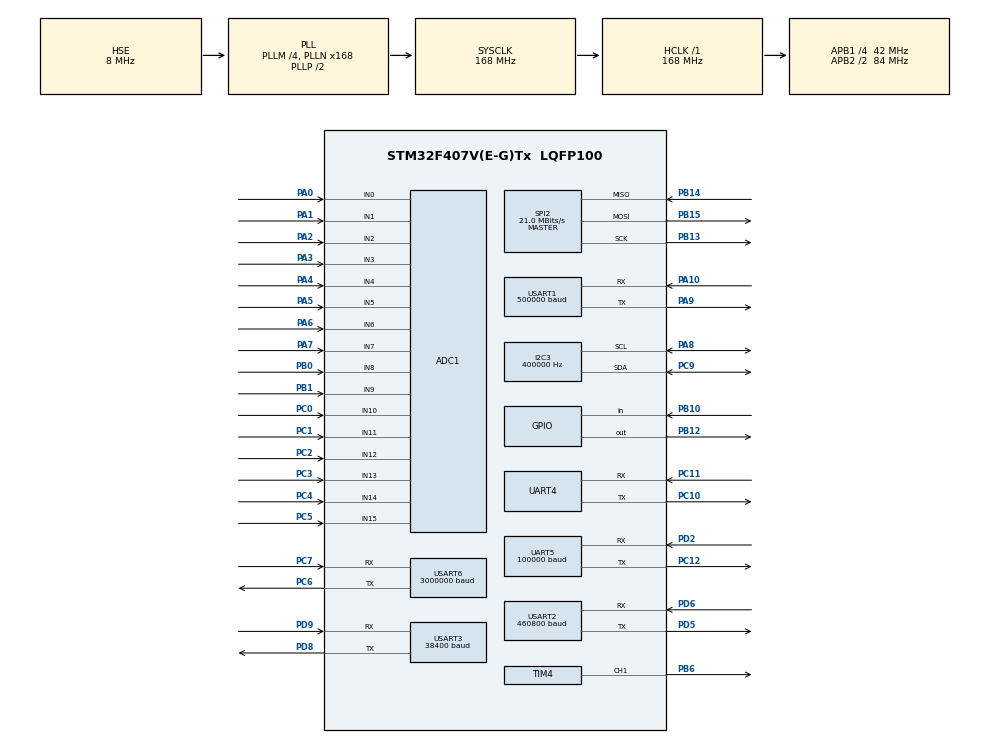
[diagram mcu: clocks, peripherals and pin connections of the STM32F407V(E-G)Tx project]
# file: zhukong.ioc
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ADC1.Channel-0\#ChannelRegularConversion=ADC_CHANNEL_0
ADC1.Channel-1\#ChannelRegularConversion=ADC_CHANNEL_1
ADC1.Channel-10\#ChannelRegularConversion=ADC_CHANNEL_10
ADC1.Channel-11\#ChannelRegularConversion=ADC_CHANNEL_11
ADC1.Channel-12\#ChannelRegularConversion=ADC_CHANNEL_12
ADC1.Channel-13\#ChannelRegularConversion=ADC_CHANNEL_13
ADC1.Channel-14\#ChannelRegularConversion=ADC_CHANNEL_14
ADC1.Channel-15\#ChannelRegularConversion=ADC_CHANNEL_15
ADC1.Channel-2\#ChannelRegularConversion=ADC_CHANNEL_2
ADC1.Channel-3\#ChannelRegularConversion=ADC_CHANNEL_3
ADC1.Channel-4\#ChannelRegularConversion=ADC_CHANNEL_4
ADC1.Channel-5\#ChannelRegularConversion=ADC_CHANNEL_5
ADC1.Channel-6\#ChannelRegularConversion=ADC_CHANNEL_6
ADC1.Channel-7\#ChannelRegularConversion=ADC_CHANNEL_7
ADC1.Channel-8\#ChannelRegularConversion=ADC_CHANNEL_8
ADC1.Channel-9\#ChannelRegularConversion=ADC_CHANNEL_9
ADC1.ClockPrescaler=ADC_CLOCK_SYNC_PCLK_DIV6
ADC1.ContinuousConvMode=ENABLE
ADC1.DMAContinuousRequests=ENABLE
ADC1.EOCSelection=ADC_EOC_SEQ_CONV
ADC1.NbrOfConversion=16
ADC1.NbrOfConversionFlag=1
ADC1.Rank-0\#ChannelRegularConversion=1
ADC1.Rank-1\#ChannelRegularConversion=2
ADC1.Rank-10\#ChannelRegularConversion=11
ADC1.Rank-11\#ChannelRegularConversion=12
ADC1.Rank-12\#ChannelRegularConversion=13
ADC1.Rank-13\#ChannelRegularConversion=14
ADC1.Rank-14\#ChannelRegularConversion=15
ADC1.Rank-15\#ChannelRegularConversion=16
ADC1.Rank-2\#ChannelRegularConversion=3
ADC1.Rank-3\#ChannelRegularConversion=4
ADC1.Rank-4\#ChannelRegularConversion=5
ADC1.Rank-5\#ChannelRegularConversion=6
ADC1.Rank-6\#ChannelRegularConversion=7
ADC1.Rank-7\#ChannelRegularConversion=8
ADC1.Rank-8\#ChannelRegularConversion=9
ADC1.Rank-9\#ChannelRegularConversion=10
ADC1.SamplingTime-0\#ChannelRegularConversion=ADC_SAMPLETIME_56CYCLES
ADC1.SamplingTime-1\#ChannelRegularConversion=ADC_SAMPLETIME_56CYCLES
ADC1.SamplingTime-10\#ChannelRegularConversion=ADC_SAMPLETIME_56CYCLES
ADC1.SamplingTime-11\#ChannelRegularConversion=ADC_SAMPLETIME_56CYCLES
ADC1.SamplingTime-12\#ChannelRegularConversion=ADC_SAMPLETIME_56CYCLES
ADC1.SamplingTime-13\#ChannelRegularConversion=ADC_SAMPLETIME_56CYCLES
ADC1.SamplingTime-14\#ChannelRegularConversion=ADC_SAMPLETIME_56CYCLES
ADC1.SamplingTime-15\#ChannelRegularConversion=ADC_SAMPLETIME_56CYCLES
ADC1.SamplingTime-2\#ChannelRegularConversion=ADC_SAMPLETIME_56CYCLES
ADC1.SamplingTime-3\#ChannelRegularConversion=ADC_SAMPLETIME_56CYCLES
ADC1.SamplingTime-4\#ChannelRegularConversion=ADC_SAMPLETIME_56CYCLES
ADC1.SamplingTime-5\#ChannelRegularConversion=ADC_SAMPLETIME_56CYCLES
ADC1.SamplingTime-6\#ChannelRegularConversion=ADC_SAMPLETIME_56CYCLES
ADC1.SamplingTime-7\#ChannelRegularConversion=ADC_SAMPLETIME_56CYCLES
ADC1.SamplingTime-8\#ChannelRegularConversion=ADC_SAMPLETIME_56CYCLES
ADC1.SamplingTime-9\#ChannelRegularConversion=ADC_SAMPLETIME_56CYCLES
ADC1.ScanConvMode=ENABLE
ADC1.master=1
Dma.ADC1.4.Direction=DMA_PERIPH_TO_MEMORY
Dma.ADC1.4.FIFOMode=DMA_FIFOMODE_DISABLE
Dma.ADC1.4.Instance=DMA2_Stream0
Dma.ADC1.4.MemDataAlignment=DMA_MDATAALIGN_HALFWORD
Dma.ADC1.4.MemInc=DMA_MINC_ENABLE
Dma.ADC1.4.Mode=DMA_CIRCULAR
Dma.ADC1.4.PeriphDataAlignment=DMA_PDATAALIGN_HALFWORD
Dma.ADC1.4.PeriphInc=DMA_PINC_DISABLE
Dma.ADC1.4.Priority=DMA_PRIORITY_LOW
Dma.Request0=USART1_RX
Dma.Request1=USART1_TX
Dma.Request2=USART6_RX
Dma.Request3=USART6_TX
Dma.Request4=ADC1
Dma.Request5=USART2_RX
Dma.Request6=USART3_RX
Dma.Request7=USART3_TX
Dma.USART1_RX.0.Direction=DMA_PERIPH_TO_MEMORY
Dma.USART1_RX.0.FIFOMode=DMA_FIFOMODE_DISABLE
Dma.USART1_RX.0.Instance=DMA2_Stream2
Dma.USART1_RX.0.MemDataAlignment=DMA_MDATAALIGN_BYTE
Dma.USART1_RX.0.MemInc=DMA_MINC_ENABLE
Dma.USART1_RX.0.Mode=DMA_NORMAL
Dma.USART1_RX.0.PeriphDataAlignment=DMA_PDATAALIGN_BYTE
Dma.USART1_RX.0.PeriphInc=DMA_PINC_DISABLE
Dma.USART1_RX.0.Priority=DMA_PRIORITY_LOW
Dma.USART1_TX.1.Direction=DMA_MEMORY_TO_PERIPH
Dma.USART1_TX.1.FIFOMode=DMA_FIFOMODE_DISABLE
Dma.USART1_TX.1.Instance=DMA2_Stream7
Dma.USART1_TX.1.MemDataAlignment=DMA_MDATAALIGN_BYTE
Dma.USART1_TX.1.MemInc=DMA_MINC_ENABLE
Dma.USART1_TX.1.Mode=DMA_NORMAL
Dma.USART1_TX.1.PeriphDataAlignment=DMA_PDATAALIGN_BYTE
Dma.USART1_TX.1.PeriphInc=DMA_PINC_DISABLE
Dma.USART1_TX.1.Priority=DMA_PRIORITY_LOW
Dma.USART2_RX.5.Direction=DMA_PERIPH_TO_MEMORY
Dma.USART2_RX.5.FIFOMode=DMA_FIFOMODE_DISABLE
Dma.USART2_RX.5.Instance=DMA1_Stream5
Dma.USART2_RX.5.MemDataAlignment=DMA_MDATAALIGN_BYTE
Dma.USART2_RX.5.MemInc=DMA_MINC_ENABLE
Dma.USART2_RX.5.Mode=DMA_NORMAL
Dma.USART2_RX.5.PeriphDataAlignment=DMA_PDATAALIGN_BYTE
Dma.USART2_RX.5.PeriphInc=DMA_PINC_DISABLE
Dma.USART2_RX.5.Priority=DMA_PRIORITY_LOW
Dma.USART3_RX.6.Direction=DMA_PERIPH_TO_MEMORY
Dma.USART3_RX.6.FIFOMode=DMA_FIFOMODE_DISABLE
Dma.USART3_RX.6.Instance=DMA1_Stream1
Dma.USART3_RX.6.MemDataAlignment=DMA_MDATAALIGN_BYTE
Dma.USART3_RX.6.MemInc=DMA_MINC_ENABLE
Dma.USART3_RX.6.Mode=DMA_NORMAL
Dma.USART3_RX.6.PeriphDataAlignment=DMA_PDATAALIGN_BYTE
Dma.USART3_RX.6.PeriphInc=DMA_PINC_DISABLE
Dma.USART3_RX.6.Priority=DMA_PRIORITY_LOW
Dma.USART3_TX.7.Direction=DMA_MEMORY_TO_PERIPH
Dma.USART3_TX.7.FIFOMode=DMA_FIFOMODE_DISABLE
Dma.USART3_TX.7.Instance=DMA1_Stream3
Dma.USART3_TX.7.MemDataAlignment=DMA_MDATAALIGN_BYTE
Dma.USART3_TX.7.MemInc=DMA_MINC_ENABLE
Dma.USART3_TX.7.Mode=DMA_NORMAL
Dma.USART3_TX.7.PeriphDataAlignment=DMA_PDATAALIGN_BYTE
Dma.USART3_TX.7.PeriphInc=DMA_PINC_DISABLE
Dma.USART3_TX.7.Priority=DMA_PRIORITY_LOW
Dma.USART6_RX.2.Direction=DMA_PERIPH_TO_MEMORY
Dma.USART6_RX.2.FIFOMode=DMA_FIFOMODE_DISABLE
Dma.USART6_RX.2.Instance=DMA2_Stream1
Dma.USART6_RX.2.MemDataAlignment=DMA_MDATAALIGN_BYTE
Dma.USART6_RX.2.MemInc=DMA_MINC_ENABLE
Dma.USART6_RX.2.Mode=DMA_NORMAL
Dma.USART6_RX.2.PeriphDataAlignment=DMA_PDATAALIGN_BYTE
Dma.USART6_RX.2.PeriphInc=DMA_PINC_DISABLE
Dma.USART6_RX.2.Priority=DMA_PRIORITY_VERY_HIGH
Dma.USART6_TX.3.Direction=DMA_MEMORY_TO_PERIPH
Dma.USART6_TX.3.FIFOMode=DMA_FIFOMODE_DISABLE
Dma.USART6_TX.3.Instance=DMA2_Stream6
Dma.USART6_TX.3.MemDataAlignment=DMA_MDATAALIGN_BYTE
Dma.USART6_TX.3.MemInc=DMA_MINC_ENABLE
Dma.USART6_TX.3.Mode=DMA_NORMAL
Dma.USART6_TX.3.PeriphDataAlignment=DMA_PDATAALIGN_BYTE
Dma.USART6_TX.3.PeriphInc=DMA_PINC_DISABLE
Dma.USART6_TX.3.Priority=DMA_PRIORITY_LOW
FREERTOS.BinarySemaphores01=RS485SE,Dynamic,NULL,Available
FREERTOS.INCLUDE_xTaskGetHandle=1
FREERTOS.Queues01=RS485_DMA,52,uint8_t,0,Dynamic,NULL,NULL;Send_Again,8,uint8_t,0,Dynamic,NULL,NULL
FREERTOS.Tasks01=JY901,10,256,vJY901Task,Default,NULL,Dynamic,NULL,NULL;RS485,16,256,vRS485Task,Default,NULL,Dynamic,NULL,NULL;ADC_UPDATE,9,256,vADC_UPDATETask,Default,NULL,Dynamic,NULL,NULL;contol,8,512,vcontolTask,Default,NULL,Dynamic,NULL,NULL
FREERTOS.configENABLE_FPU=1
FREERTOS.configTOTAL_HEAP_SIZE=24576
I2C3.ClockSpeed=400000
I2C3.DutyCycle=I2C_DUTYCYCLE_16_9
I2C3.I2C_Mode=I2C_Fast
Mcu.Family=STM32F4
Mcu.Name=STM32F407V(E-G)Tx
Mcu.Package=LQFP100
NVIC.DMA1_Stream1_IRQn=true\:5\:0\:false\:false\:true\:true\:false\:true\:true
NVIC.DMA1_Stream3_IRQn=true\:5\:0\:false\:false\:true\:true\:false\:true\:true
NVIC.DMA1_Stream5_IRQn=true\:5\:0\:false\:false\:true\:true\:false\:true\:true
NVIC.DMA2_Stream0_IRQn=true\:5\:0\:false\:false\:true\:true\:false\:true\:true
NVIC.DMA2_Stream1_IRQn=true\:5\:0\:false\:false\:true\:true\:false\:true\:true
NVIC.DMA2_Stream2_IRQn=true\:5\:0\:false\:false\:true\:true\:false\:true\:true
NVIC.DMA2_Stream6_IRQn=true\:5\:0\:false\:false\:true\:true\:false\:true\:true
NVIC.DMA2_Stream7_IRQn=true\:5\:0\:false\:false\:true\:true\:false\:true\:true
NVIC.PriorityGroup=NVIC_PRIORITYGROUP_4
NVIC.TIM1_UP_TIM10_IRQn=true\:6\:0\:true\:false\:true\:true\:true\:true\:true
NVIC.TIM7_IRQn=true\:15\:0\:false\:false\:true\:false\:false\:true\:true
NVIC.TimeBase=TIM7_IRQn
NVIC.TimeBaseIP=TIM7
NVIC.UART5_IRQn=true\:5\:0\:false\:false\:true\:true\:true\:true\:true
NVIC.USART1_IRQn=true\:5\:0\:false\:false\:true\:true\:true\:true\:true
NVIC.USART2_IRQn=true\:5\:0\:false\:false\:true\:true\:true\:true\:true
NVIC.USART6_IRQn=true\:5\:0\:false\:false\:true\:true\:true\:true\:true
PA0-WKUP.Signal=ADCx_IN0
PA1.Signal=ADCx_IN1
PA10.Mode=Asynchronous
PA10.Signal=USART1_RX
PA13.Mode=Serial_Wire
PA13.Signal=SYS_JTMS-SWDIO
PA14.Mode=Serial_Wire
PA14.Signal=SYS_JTCK-SWCLK
PA2.Signal=ADCx_IN2
PA3.Signal=ADCx_IN3
PA4.Signal=ADCx_IN4
PA5.Signal=ADCx_IN5
PA6.Signal=ADCx_IN6
PA7.Signal=ADCx_IN7
PA8.Mode=I2C
PA8.Signal=I2C3_SCL
PA9.Mode=Asynchronous
PA9.Signal=USART1_TX
PB0.Signal=ADCx_IN8
PB1.Signal=ADCx_IN9
PB10.GPIO_PuPd=GPIO_PULLUP
PB10.Signal=GPIO_Input
PB12.Signal=GPIO_Output
PB13.Mode=Full_Duplex_Master
PB13.Signal=SPI2_SCK
PB14.Mode=Full_Duplex_Master
PB14.Signal=SPI2_MISO
PB15.Mode=Full_Duplex_Master
PB15.Signal=SPI2_MOSI
PB6.Signal=S_TIM4_CH1
PC0.Signal=ADCx_IN10
PC1.Signal=ADCx_IN11
PC10.Mode=Asynchronous
PC10.Signal=UART4_TX
PC11.Mode=Asynchronous
PC11.Signal=UART4_RX
PC12.Mode=Asynchronous
PC12.Signal=UART5_TX
PC2.Signal=ADCx_IN12
PC3.Signal=ADCx_IN13
PC4.Signal=ADCx_IN14
PC5.Signal=ADCx_IN15
PC6.Mode=Asynchronous
PC6.Signal=USART6_TX
PC7.Mode=Asynchronous
PC7.Signal=USART6_RX
PC9.Mode=I2C
PC9.Signal=I2C3_SDA
PD2.Mode=Asynchronous
PD2.Signal=UART5_RX
PD5.Mode=Asynchronous
PD5.Signal=USART2_TX
PD6.Mode=Asynchronous
PD6.Signal=USART2_RX
PD8.Mode=Asynchronous
PD8.Signal=USART3_TX
PD9.Mode=Asynchronous
PD9.Signal=USART3_RX
PH0-OSC_IN.Mode=HSE-External-Oscillator
PH0-OSC_IN.Signal=RCC_OSC_IN
PH1-OSC_OUT.Mode=HSE-External-Oscillator
PH1-OSC_OUT.Signal=RCC_OSC_OUT
ProjectManager.HeapSize=0x200
ProjectManager.StackSize=0x400
ProjectManager.TargetToolchain=MDK-ARM V5.32
RCC.48MHZClocksFreq_Value=84000000
RCC.AHBFreq_Value=168000000
RCC.APB1CLKDivider=RCC_HCLK_DIV4
RCC.APB1Freq_Value=42000000
RCC.APB1TimFreq_Value=84000000
RCC.APB2CLKDivider=RCC_HCLK_DIV2
RCC.APB2Freq_Value=84000000
RCC.APB2TimFreq_Value=168000000
RCC.CortexFreq_Value=168000000
RCC.HCLKFreq_Value=168000000
RCC.HSE_VALUE=8000000
RCC.HSI_VALUE=16000000
RCC.LSE_VALUE=32768
RCC.PLLM=4
RCC.PLLN=168
RCC.PLLSourceVirtual=RCC_PLLSOURCE_HSE
RCC.SYSCLKFreq_VALUE=168000000
RCC.SYSCLKSource=RCC_SYSCLKSOURCE_PLLCLK
RCC.VCOOutputFreq_Value=336000000
SH.ADCx_IN0.0=ADC1_IN0,IN0
SH.ADCx_IN1.0=ADC1_IN1,IN1
SH.ADCx_IN10.0=ADC1_IN10,IN10
SH.ADCx_IN11.0=ADC1_IN11,IN11
SH.ADCx_IN12.0=ADC1_IN12,IN12
SH.ADCx_IN13.0=ADC1_IN13,IN13
SH.ADCx_IN14.0=ADC1_IN14,IN14
SH.ADCx_IN15.0=ADC1_IN15,IN15
SH.ADCx_IN2.0=ADC1_IN2,IN2
SH.ADCx_IN3.0=ADC1_IN3,IN3
SH.ADCx_IN4.0=ADC1_IN4,IN4
SH.ADCx_IN5.0=ADC1_IN5,IN5
SH.ADCx_IN6.0=ADC1_IN6,IN6
SH.ADCx_IN7.0=ADC1_IN7,IN7
SH.ADCx_IN8.0=ADC1_IN8,IN8
SH.ADCx_IN9.0=ADC1_IN9,IN9
SH.S_TIM4_CH1.0=TIM4_CH1,PWM Generation1 CH1
SPI2.BaudRatePrescaler=SPI_BAUDRATEPRESCALER_2
SPI2.CalculateBaudRate=21.0 MBits/s
SPI2.Direction=SPI_DIRECTION_2LINES
SPI2.Mode=SPI_MODE_MASTER
SPI2.VirtualType=VM_MASTER
TIM1.Period=19
TIM1.Prescaler=16799
TIM2.Prescaler=83
TIM3.Period=1999
TIM3.Prescaler=839
TIM4.Channel-PWM\ Generation1\ CH1=TIM_CHANNEL_1
TIM4.Period=1999
TIM4.Prescaler=839
UART4.VirtualMode=Asynchronous
UART5.BaudRate=100000
UART5.Parity=PARITY_EVEN
UART5.StopBits=UART_STOPBITS_2
UART5.VirtualMode=Asynchronous
UART5.WordLength=WORDLENGTH_9B
USART1.BaudRate=500000
USART1.VirtualMode=VM_ASYNC
USART2.BaudRate=460800
USART2.Parity=PARITY_NONE
USART2.StopBits=STOPBITS_1
USART2.VirtualMode=VM_ASYNC
USART2.WordLength=WORDLENGTH_8B
USART3.BaudRate=38400
USART3.VirtualMode=VM_ASYNC
USART6.BaudRate=3000000
USART6.VirtualMode=VM_ASYNC
VP_FREERTOS_VS_CMSIS_V2.Mode=CMSIS_V2
VP_SYS_VS_tim7.Mode=TIM7
VP_TIM1_VS_ClockSourceINT.Mode=Internal
VP_TIM2_VS_ClockSourceINT.Mode=Internal
VP_TIM3_VS_ClockSourceINT.Mode=Internal
VP_TIM4_VS_ClockSourceINT.Mode=Internal
board=custom

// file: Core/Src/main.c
/* USER CODE BEGIN Header */
/**
  ******************************************************************************
  * @file           : main.c
  * @brief          : Main program body
  ******************************************************************************
  * @attention
  *
  * Copyright (c) 2025 STMicroelectronics.
  * All rights reserved.
  *
  * This software is licensed under terms that can be found in the LICENSE file
  * in the root directory of this software component.
  * If no LICENSE file comes with this software, it is provided AS-IS.
  *
  ******************************************************************************
  */
/* USER CODE END Header */
#include "main.h"
#include "cmsis_os.h"
#include "adc.h"
#include "dma.h"
#include "i2c.h"
#include "spi.h"
#include "tim.h"
#include "usart.h"
#include "gpio.h"

/* USER CODE BEGIN Includes */
#include "JY901S.h"
#include "stdio.h"
#include "MYDWT.h"
#include "remote_contol.h"
#include "RS485.h"
#include "freertos.h"
#include  "semphr.h"
#include  "PID.h"
#include "adc_m.h"
#include "CONTOL.h"
/* USER CODE END Includes */

/* USER CODE BEGIN PV */
extern osSemaphoreId_t  RS485SEHandle;
/* USER CODE END PV */

void SystemClock_Config(void);
void MX_FREERTOS_Init(void);

int main(void)
{

  /* USER CODE BEGIN 1 */
  // extern I2C_HandleTypeDef hi2c3;
  /* USER CODE END 1 */

  /* MCU Configuration--------------------------------------------------------*/

  /* Reset of all peripherals, Initializes the Flash interface and the Systick. */
  HAL_Init();

  /* Configure the system clock */
  SystemClock_Config();

  /* Initialize all configured peripherals */
  MX_GPIO_Init();
  MX_DMA_Init();
  MX_ADC1_Init();
  MX_I2C3_Init();
  MX_SPI2_Init();
  MX_UART4_Init();
  MX_UART5_Init();
  MX_USART1_UART_Init();
  MX_USART2_UART_Init();
  MX_USART3_UART_Init();
  MX_USART6_UART_Init();
  MX_TIM1_Init();
  MX_TIM2_Init();
  MX_TIM3_Init();
  MX_TIM4_Init();
  /* USER CODE BEGIN 2 */
  /*git 脚本
  Set-ExecutionPolicy -ExecutionPolicy RemoteSigned -Scope CurrentUser
  .\git-push.ps1    //每天都要上传
  */
	HAL_TIM_Base_Start_IT(&htim1);
  HAL_TIM_Base_Start(&htim2);	//485定时器初始化
	HAL_TIM_Base_Start(&htim4);
	HAL_TIM_PWM_Start(&htim4,TIM_CHANNEL_1); //2000
	__HAL_TIM_SET_COMPARE(&htim4,TIM_CHANNEL_1,50);
	HAL_UART_Receive_IT(&huart5,sbus_buf, SBUS_FRAME_SIZE);  //遥控串口初始化
	Enable_DWT_CycleCounter();						 //DWT外设开启
	IMU_pid_init(&IMU_PID);                //转向PID初始化
	ADC_Sample_Start();                    //开启ADC采样
	HAL_Delay(2000);
	Convert_radians_to_centimeters =(float) (Wheel_d * M_PI ) /( (2*M_PI) * (Reduction_ratio ));
	R_GAIN = Reduction_ratio / 30.0f;

//	DWT_TIME_START();
//	delay_us(1);
//	DWT_TIME_END();

  /* USER CODE END 2 */

  /* Init scheduler */
  osKernelInitialize();  /* Call init function for freertos objects (in cmsis_os2.c) */
  MX_FREERTOS_Init();

  /* Start scheduler */
  osKernelStart();

  /* We should never get here as control is now taken by the scheduler */

  /* Infinite loop */
  while (1)
  {

  }
}

void SystemClock_Config(void)
{
  RCC_OscInitTypeDef RCC_OscInitStruct = {0};
  RCC_ClkInitTypeDef RCC_ClkInitStruct = {0};

  /** Configure the main internal regulator output voltage
  */
  __HAL_RCC_PWR_CLK_ENABLE();
  __HAL_PWR_VOLTAGESCALING_CONFIG(PWR_REGULATOR_VOLTAGE_SCALE1);

  /** Initializes the RCC Oscillators according to the specified parameters
  * in the RCC_OscInitTypeDef structure.
  */
  RCC_OscInitStruct.OscillatorType = RCC_OSCILLATORTYPE_HSE;
  RCC_OscInitStruct.HSEState = RCC_HSE_ON;
  RCC_OscInitStruct.PLL.PLLState = RCC_PLL_ON;
  RCC_OscInitStruct.PLL.PLLSource = RCC_PLLSOURCE_HSE;
  RCC_OscInitStruct.PLL.PLLM = 4;
  RCC_OscInitStruct.PLL.PLLN = 168;
  RCC_OscInitStruct.PLL.PLLP = RCC_PLLP_DIV2;
  RCC_OscInitStruct.PLL.PLLQ = 4;
  if (HAL_RCC_OscConfig(&RCC_OscInitStruct) != HAL_OK)
  {
    Error_Handler();
  }

  /** Initializes the CPU, AHB and APB buses clocks
  */
  RCC_ClkInitStruct.ClockType = RCC_CLOCKTYPE_HCLK|RCC_CLOCKTYPE_SYSCLK
                              |RCC_CLOCKTYPE_PCLK1|RCC_CLOCKTYPE_PCLK2;
  RCC_ClkInitStruct.SYSCLKSource = RCC_SYSCLKSOURCE_PLLCLK;
  RCC_ClkInitStruct.AHBCLKDivider = RCC_SYSCLK_DIV1;
  RCC_ClkInitStruct.APB1CLKDivider = RCC_HCLK_DIV4;
  RCC_ClkInitStruct.APB2CLKDivider = RCC_HCLK_DIV2;

  if (HAL_RCC_ClockConfig(&RCC_ClkInitStruct, FLASH_LATENCY_5) != HAL_OK)
  {
    Error_Handler();
  }
}

void HAL_TIM_PeriodElapsedCallback(TIM_HandleTypeDef *htim)
{
  if (htim->Instance == TIM7)
  {
    HAL_IncTick();
  }
  /* USER CODE BEGIN Callback 1 */

    if (htim->Instance == TIM1)
    {
        //从ISR释放信号量
        if (RS485SEHandle != NULL)
        {
        BaseType_t xHigherPriorityTaskWoken = pdFALSE; // 初始化为pdFALSE
        // 传入变量地址，让函数标记是否需要切换
        xSemaphoreGiveFromISR(RS485SEHandle, &xHigherPriorityTaskWoken);

        // 触发上下文切换：如果xHigherPriorityTaskWoken为pdTRUE，就立刻切换
        portYIELD_FROM_ISR(xHigherPriorityTaskWoken);
        }
    }

  /* USER CODE END Callback 1 */
}

void Error_Handler(void)
{
  __disable_irq();
  while (1)
  {
  }
}

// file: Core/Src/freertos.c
/* USER CODE BEGIN Header */
/**
  ******************************************************************************
  * File Name          : freertos.c
  * Description        : Code for freertos applications
  ******************************************************************************
  * @attention
  *
  * Copyright (c) 2025 STMicroelectronics.
  * All rights reserved.
  *
  * This software is licensed under terms that can be found in the LICENSE file
  * in the root directory of this software component.
  * If no LICENSE file comes with this software, it is provided AS-IS.
  *
  ******************************************************************************
  */
/* USER CODE END Header */

#include "FreeRTOS.h"
#include "task.h"
#include "main.h"
#include "cmsis_os.h"

/* USER CODE BEGIN Includes */
#include  "stdio.h"
#include  "semphr.h"
#include  "tim.h"
#include  "RS485.h"
#include  "MYDWT.h"
#include  "JY901S.h"
#include  "i2c.h"
#include  "CONTOL.h"
#include  "adc_m.h"
#include  "PID.h"
#include  "usart.h"
#include "usart_lcd.h"
#include "remote_contol.h"
#include "arena_config.h"
/* USER CODE END Includes */

/* USER CODE BEGIN Variables */
//@@@@@@@@@@@@@@@@@优先级以及变量@@@@@@@@@@@@@@@@@@@@@@@

float  slave_velocity_arr[4] = {0};
float  TEXT_VELOCITY[1] = {20};
JY901S_AngleData IMU_DATA;
JY901S_Status    IMU_IIC_SATUS;
volatile int16_t Rotation = 0;//圈数
float   Last_Angle = 180;
uint16_t OFF_STAGE_CNT = 0;
uint16_t between_STAGE_COUNT = 0;
//RS485       	优先级    osPriorityBelowNormal       task02
//JY901   			优先级    osPriorityLow2              dautask
//ADC_UPDATE    优先级    osPriorityLow1        			StartTask03
//contol        优先级    osPriorityLow       				StartTask04

//自身函数定义
void TEXT_VELOCITY_ADD( void );
void TEXT_MOVE(void);
void RS485_TXVELOCITY(void);
void vPrintTaskInfo(uint8_t *pucName);
void RS485_TXCommand(void);
void RS485_TXDistance(void);
//宏定义
#define    ON     						1
#define    OFF    						0
int        TEXT_MODE=   			OFF;      //上车的时候给他关掉就好
int        JY901S_MODE=       OFF;      //陀螺仪部分

/* USER CODE END Variables */
/* Definitions for JY901 */
osThreadId_t JY901Handle;
const osThreadAttr_t JY901_attributes = {
  .name = "JY901",
  .stack_size = 256 * 4,
  .priority = (osPriority_t) osPriorityLow2,
};
/* Definitions for RS485 */
osThreadId_t RS485Handle;
const osThreadAttr_t RS485_attributes = {
  .name = "RS485",
  .stack_size = 256 * 4,
  .priority = (osPriority_t) osPriorityBelowNormal,
};
/* Definitions for ADC_UPDATE */
osThreadId_t ADC_UPDATEHandle;
const osThreadAttr_t ADC_UPDATE_attributes = {
  .name = "ADC_UPDATE",
  .stack_size = 256 * 4,
  .priority = (osPriority_t) osPriorityLow1,
};
/* Definitions for contol */
osThreadId_t contolHandle;
const osThreadAttr_t contol_attributes = {
  .name = "contol",
  .stack_size = 512 * 4,
  .priority = (osPriority_t) osPriorityLow,
};
/* Definitions for RS485_DMA */
osMessageQueueId_t RS485_DMAHandle;
const osMessageQueueAttr_t RS485_DMA_attributes = {
  .name = "RS485_DMA"
};
/* Definitions for Send_Again */
osMessageQueueId_t Send_AgainHandle;
const osMessageQueueAttr_t Send_Again_attributes = {
  .name = "Send_Again"
};
/* Definitions for RS485SE */
osSemaphoreId_t RS485SEHandle;
const osSemaphoreAttr_t RS485SE_attributes = {
  .name = "RS485SE"
};

void vJY901Task(void *argument);
void vRS485Task(void *argument);
void vADC_UPDATETask(void *argument);
void vcontolTask(void *argument);

void MX_FREERTOS_Init(void); /* (MISRA C 2004 rule 8.1) */

void MX_FREERTOS_Init(void) {

  /* Create the semaphores(s) */
  /* creation of RS485SE */
  RS485SEHandle = osSemaphoreNew(1, 1, &RS485SE_attributes);

  /* Create the queue(s) */
  /* creation of RS485_DMA */
  RS485_DMAHandle = osMessageQueueNew (52, sizeof(uint8_t), &RS485_DMA_attributes);

  /* creation of Send_Again */
  Send_AgainHandle = osMessageQueueNew (8, sizeof(uint8_t), &Send_Again_attributes);

  /* Create the thread(s) */
  /* creation of JY901 */
  JY901Handle = osThreadNew(vJY901Task, NULL, &JY901_attributes);

  /* creation of RS485 */
  RS485Handle = osThreadNew(vRS485Task, NULL, &RS485_attributes);

  /* creation of ADC_UPDATE */
  ADC_UPDATEHandle = osThreadNew(vADC_UPDATETask, NULL, &ADC_UPDATE_attributes);

  /* creation of contol */
  contolHandle = osThreadNew(vcontolTask, NULL, &contol_attributes);

}

void vJY901Task(void *argument)
{
  /* USER CODE BEGIN vJY901Task */
  /* Infinite loop */
  for(;;)
  {

	#if OFF  //任务监视窗口函数
	vPrintTaskInfo((uint8_t *)"JY901" );
	#endif

		IMU_IIC_SATUS = JY901S_ReadAngles(&hi2c3,&IMU_DATA);
//		if(IMU_IIC_SATUS  ==  JY901S_OK  &&   JY901S_MODE )
//		{
//			float v = 0;
//			v = LV1_PID_BACK(&IMU_PID,IMU_DATA.yaw,180);
//			move( v/3,-v/3);
//			PrintAngles(&IMU_DATA);  //不是陀螺仪模式的时候就不打印了
//		}
		GET_VISUAL_DATA();
		Rotation +=  __fabs(IMU_DATA.yaw - Last_Angle ) > 280 ? (IMU_DATA.yaw > Last_Angle ? -1 : 1 ) :  0;
		Last_Angle = IMU_DATA.yaw;

		if( LCD_MODE == Remote_mode ){ get_SBUS_data(); }

//			for (int i = 2;i <20 ;i++)
//			{
//				printf("%c",USART3_dma_buffer[i]);
//			}
//			printf("\n");
//			USART3_flag = 0;

		//本次跟上次相差300度代表多了一圈
		osDelay(6);
  }
  /* USER CODE END vJY901Task */
}

void vRS485Task(void *argument)
{
  /* USER CODE BEGIN vRS485Task */
  /* Infinite loop */
  for(;;)
  {
    if(xSemaphoreTake(RS485SEHandle, portMAX_DELAY) == pdPASS )  //没有信号量我就把自己挂起来，让其他函数执行
    {

			if(TEXT_MODE)

				{
					TEXT_MOVE();
				}
			else
				{

					if(JY901S_MODE)
						{
							osDelay(1);
						}
						else
						{
              switch (current_Send_frame_type)
              {
                case DATA_Frame:
                  RS485_TXVELOCITY(); //速度数据
                  break;
                case Distance_Frame:
                  RS485_TXDistance(); //位移数据
                  break;
                case Command_Frame:
                  RS485_TXCommand(); //指令数据
                  break;
              }

						}

				}
    }
  }
  /* USER CODE END vRS485Task */
}

void vADC_UPDATETask(void *argument)
{
  /* USER CODE BEGIN vADC_UPDATETask */
  /* Infinite loop */
  for(;;)
  {
	#if OFF  //任务监视窗口函数
	vPrintTaskInfo((uint8_t *)"ADC_UPDATE" );
	#endif

		ADC_Process();                   //ADC采样     0，7灰度
		float aver_huidu = (L_huidu + R_huidu )/ 2.0f;

		//700等于252cm，
		roaming_veocity_STR = aver_huidu > GRAY_SPEED_LIGHT_THRESH ? GRAY_SPEED_LIGHT_MAX : aver_huidu/GRAY_SPEED_DIVISOR;//

		//角落必须用自转
		if( aver_huidu < GRAY_SPEED_AUTO_ROTATE) {
			Enemy_search_mode = zizhuan_mode;
		xuanzhuan_count = XUANZHUAN_LOW_GRAY;
		}
		uint16_t R_value = GRAY_TURN_R_VALUE;
		uint16_t aver_huidu_value = GRAY_TURN_HIGH_THRESH;
		uint16_t R_huidu_CALL = R_huidu * ARENA_GRAY_COMPENSATION_R ;
		if  ( L_huidu <  R_huidu_CALL )
		{
				roaming_veocity_L = aver_huidu > aver_huidu_value ? GRAY_TURN_MAX_SPEED : (aver_huidu / GRAY_TURN_DIVISOR_L);
				roaming_R    = aver_huidu> aver_huidu_value ? R_value : (aver_huidu / GRAY_TURN_R_DIVISOR);
				if(roaming_R < GRAY_TURN_R_MIN) roaming_R = GRAY_TURN_R_MIN;
				roaming_veocity_R = (roaming_veocity_L *roaming_R )/ (roaming_R + GRAY_TURN_WHEEL_BASE);
		}else
		{
				roaming_veocity_R = aver_huidu > aver_huidu_value ? GRAY_TURN_MAX_SPEED : (aver_huidu / GRAY_TURN_DIVISOR_R);
				roaming_R    = aver_huidu> aver_huidu_value ? R_value : (aver_huidu / GRAY_TURN_R_DIVISOR);
				if(roaming_R < GRAY_TURN_R_MIN) roaming_R = GRAY_TURN_R_MIN;
				roaming_veocity_L = (roaming_veocity_R *roaming_R )/ (roaming_R + GRAY_TURN_WHEEL_BASE);
		}

		//假上台限速：路过出发区时降低直行速度防止撞墙
		if (CAR_STATUS == ON_STAGE && STAGE_UP_CONFIRMED == 0)
		{
			if (roaming_veocity_STR > FAKE_ON_STAGE_SPEED_LIMIT) roaming_veocity_STR = FAKE_ON_STAGE_SPEED_LIMIT;
		}
		if(huishou_FLAG == 3)  //挥手启动完成后才进行状态检测
			{
				//记得补偿左右灰度的差值
				if( (L_huidu < ARENA_GRAY_OFF_STAGE_L_MAX &&  L_huidu > ARENA_GRAY_OFF_STAGE_MIN ) && (R_huidu   < ARENA_GRAY_OFF_STAGE_R_MAX &&  R_huidu  > ARENA_GRAY_OFF_STAGE_MIN ) )
					{

						if(OFF_STAGE_CNT >= OFF_STAGE_CNT_THRES) //150*5 = 750ms后判断为台下
						{
							CAR_STATUS = OFF_STAGE ;
						}else
						{

							OFF_STAGE_CNT ++;
						}

					} //小于六百是台下
				else if (L_huidu >= ARENA_GRAY_ON_STAGE_L_MIN  &&  R_huidu >= ARENA_GRAY_ON_STAGE_R_MIN)
				{

						if( QIAN_L_JG <= JG_START_ZONE_FRONT &&
							  QIAN_R_JG <= JG_START_ZONE_FRONT &&
							( L_JG <= JG_START_ZONE_SIDE  ||  R_JG <= JG_START_ZONE_SIDE )    &&
								L_JG_60    <= JG_START_ZONE_SIDE_60                  &&
								R_JG_60    <= JG_START_ZONE_SIDE_60
						  )
						{
								CAR_STATUS = OFF_STAGE;
								if ( B_JG >= JG_BACK_CLEAR )
								{
									START_ZONE_flag = 1; //可以直接上台
								}else
								{
									START_ZONE_flag = 2; //后退转90度后退800ms
								}
						}else
						{
							CAR_STATUS = ON_STAGE ;
							OFF_STAGE_CNT = 0;

						}

						//左边黑色右边出发区
				}else   if(   (L_huidu < ARENA_GRAY_OFF_STAGE_L_MAX &&  L_huidu > ARENA_GRAY_OFF_STAGE_MIN )
									 && (R_huidu >= ARENA_GRAY_ON_STAGE_R_MIN)
									)
				{

						if( QIAN_L_JG <= JG_START_ZONE_FRONT_ALT &&
							  QIAN_R_JG <= JG_START_ZONE_FRONT_ALT &&
							( L_JG <= JG_START_ZONE_SIDE  ||  R_JG <= JG_START_ZONE_SIDE )    &&
								L_JG_60    <= JG_START_ZONE_SIDE_60_ALT                  &&
								R_JG_60    <= JG_START_ZONE_SIDE_60_ALT
						  )
						{
								CAR_STATUS = OFF_STAGE;

								if ( B_JG >= JG_BACK_CLEAR )
								{
									START_ZONE_flag = 1; //可以直接上台
								}else
								{
									START_ZONE_flag = 2; //后退转90度后退800ms
								}
						}
						//右边黑色左边出发区
				}else   if(  (R_huidu   < ARENA_GRAY_OFF_STAGE_R_MAX &&  R_huidu  > ARENA_GRAY_OFF_STAGE_MIN )
									 &&(  L_huidu >= ARENA_GRAY_ON_STAGE_L_MIN )
									)
				{
						if( QIAN_L_JG <= JG_START_ZONE_FRONT &&
							  QIAN_R_JG <= JG_START_ZONE_FRONT &&
							( L_JG <= JG_START_ZONE_SIDE  ||  R_JG <= JG_START_ZONE_SIDE )    &&
								L_JG_60    <= JG_START_ZONE_SIDE_60                  &&
								R_JG_60    <= JG_START_ZONE_SIDE_60
						  )
						{
								CAR_STATUS = OFF_STAGE;
									START_ZONE_flag = 2; //后退转90度后退800ms
						}
				}

			}

		if(ZHUIJI_Flag != 0 )
		{
			if(ZHUIJI_TIME > 0)
			{
			ZHUIJI_TIME -= ZHUIJI_TIME_STEP;
			}else
			{
				ZHUIJI_TIME = ZHUIJI_TIME_DEFAULT;
				ZHUIJI_Flag = 0;
			}
		}
		if( __fabs(IMU_DATA.roll ) >= IMU_ROLL_BETWEEN_STAGE)
		{
				between_STAGE_COUNT++;
			  if(  between_STAGE_COUNT == BETWEEN_STAGE_COUNT_THRES )
				{
					CAR_STATUS = BETWEEN_STAGE;
					between_STAGE_COUNT=0;
				}
		}else if(__fabs(IMU_DATA.roll ) <= IMU_ROLL_RECOVERY  )
		{
					between_STAGE_COUNT=0;
		}
		//背后转向
		TURN_BACK_COUNT-=5;
		if(TURN_BACK_COUNT > 0)
		{
			TURN_BACK_ENABLE = 0;
		}else
		{
			TURN_BACK_ENABLE= 1;
		}
		//旋转漫游的计时
		xuanzhuan_count -= 5;
		if(xuanzhuan_count > 0)
		{
			Enemy_search_mode = zizhuan_mode;
		}else
		{
			Enemy_search_mode= pianzhuan_mode;
		}

		if(Enemy_search_scilence_CNT >= 0)
		{
			Enemy_search_scilence_CNT -= 5;
		}

			//上台状态确认：跟踪从台下(含过渡态)到台上的过渡
			static int prev_CAR_STATUS = ON_STAGE;
			if ((prev_CAR_STATUS == OFF_STAGE || prev_CAR_STATUS == BETWEEN_STAGE)
			    && CAR_STATUS == ON_STAGE && backing_attempt == 1)
			{
				STAGE_UP_CONFIRMED = 1;  //通过后退程序上台，确认真上台
			}
			if (prev_CAR_STATUS != OFF_STAGE && CAR_STATUS == OFF_STAGE)
			{
				STAGE_UP_CONFIRMED = 0;
				backing_attempt = 0;
			}
			prev_CAR_STATUS = CAR_STATUS;
		osDelay(5);
  }
  /* USER CODE END vADC_UPDATETask */
}

void vcontolTask(void *argument)
{
  /* USER CODE BEGIN vcontolTask */
  /* Infinite loop */
  for(;;)
  {

	#if OFF  //任务监视窗口函数
	vPrintTaskInfo((uint8_t *)"contol" );
	#endif

				if(TEXT_MODE)
			{

					TEXT_VELOCITY_ADD();

			}
		else

			{
			    LCD_interact();
			}
  }
  /* USER CODE END vcontolTask */
}

/* USER CODE BEGIN Application */

void TEXT_VELOCITY_ADD( void )
{
		for (int i =0; i<200; i++)
		{
		TEXT_VELOCITY[0] = i;
    osDelay(25);
		}
		for (int i =200; i>0; i--)
		{
		TEXT_VELOCITY[0] = i;
    osDelay(25);
		}

		for (int i =0; i>-200; i--)
		{
		TEXT_VELOCITY[0] = i;
    osDelay(25);
		}
		for (int i =-200; i<0; i++)
		{
		TEXT_VELOCITY[0] = i;
    osDelay(25);
		}

}

//调用这个的时候一定要把速度自增函数的开关打开

void TEXT_MOVE(void)
{
	  start_cycle = DWT->CYCCNT;
		MASTER_SEND_Frame(Slave1_ID, TEXT_VELOCITY,1 ,DATA_Frame);

		MASTER_SEND_Frame(Slave2_ID, TEXT_VELOCITY,1 ,DATA_Frame);

		MASTER_SEND_Frame(Slave3_ID, TEXT_VELOCITY,1 ,DATA_Frame);

		MASTER_SEND_Frame(Slave4_ID, TEXT_VELOCITY,1 ,DATA_Frame);
}

//发送速度帧
void RS485_TXVELOCITY(void)
{

		MASTER_SEND_Frame(Slave1_ID, target_velocity_1,1 ,DATA_Frame);

		MASTER_SEND_Frame(Slave2_ID, target_velocity_2,1 ,DATA_Frame);

		MASTER_SEND_Frame(Slave3_ID, target_velocity_3,1 ,DATA_Frame);

		MASTER_SEND_Frame(Slave4_ID, target_velocity_4,1 ,DATA_Frame);

}

//发送位移帧
void RS485_TXDistance(void)
{
	  start_cycle = DWT->CYCCNT;
    float  target_distance_1[1] = { RS485_Distance_Frame_Data.CM};
    float  target_distance_2[1] = { RS485_Distance_Frame_Data.CM};
    float  target_distance_3[1] = { RS485_Distance_Frame_Data.CM};
    float  target_distance_4[1] = { RS485_Distance_Frame_Data.CM};

    MASTER_SEND_Frame(Slave1_ID, target_distance_1,1 ,Distance_Frame);
		Analyze_RS485_data();
		delay_us(10);

		MASTER_SEND_Frame(Slave2_ID, target_distance_2,1 ,Distance_Frame);
		Analyze_RS485_data();
		delay_us(10);

		MASTER_SEND_Frame(Slave3_ID, target_distance_3,1 ,Distance_Frame);
		Analyze_RS485_data();
		delay_us(10);

		MASTER_SEND_Frame(Slave4_ID, target_distance_4,1 ,Distance_Frame);
		Analyze_RS485_data();
		delay_us(10);
	  end_cycle = DWT->CYCCNT;
//	  printf("%d\n", (end_cycle - start_cycle)/1000);
}

//发送命令帧
void RS485_TXCommand(void)
{
		start_cycle = DWT->CYCCNT;

    float   target_command[1] = {0};
    MASTER_SEND_Frame(Slave1_ID, target_command,0 ,Command_Frame);
		Analyze_RS485_data();
		delay_us(10);

		MASTER_SEND_Frame(Slave2_ID, target_command,0 ,Command_Frame);
		Analyze_RS485_data();
		delay_us(10);

		MASTER_SEND_Frame(Slave3_ID, target_command,0 ,Command_Frame);
		Analyze_RS485_data();
		delay_us(10);
		MASTER_SEND_Frame(Slave4_ID, target_command,0 ,Command_Frame);
		Analyze_RS485_data();
		delay_us(10);
	  end_cycle = DWT->CYCCNT;

//	  printf("%d\n", (end_cycle - start_cycle)/1000);
}

//打印函数状态信息
void vPrintTaskInfo(uint8_t *pucName)
{
    TaskHandle_t TaskHandle;
    TaskStatus_t TaskStatus;

    uint8_t aucTaskName[16];

    TaskHandle = xTaskGetHandle((const char *)pucName);

    vTaskGetInfo((TaskHandle_t)TaskHandle,       // 任务句柄
                 (TaskStatus_t *)&TaskStatus,     // 任务信息
                 (BaseType_t)pdTRUE,              // 允许统计任务堆栈历史最小剩余大小
                 (eTaskState)eInvalid);          // 函数自己获取任务运行状态

    printf("任务名称                : %s\r\n",TaskStatus.pcTaskName);
    printf("任务编号                : %d\r\n",(int)TaskStatus.xTaskNumber);
    printf("任务状态                : %d\r\n",TaskStatus.eCurrentState);
    printf("任务当前优先级          : %d\r\n",(int)TaskStatus.uxCurrentPriority);
    printf("任务基优先级            : %d\r\n",(int)TaskStatus.uxBasePriority);
    printf("任务栈基地址            : %#x\r\n",(int)TaskStatus.pxStackBase);
    printf("任务栈历史最高水位与栈顶距离 : %d\r\n",TaskStatus.usStackHighWaterMark);
    printf("\r\n");
}

/* USER CODE END Application */
